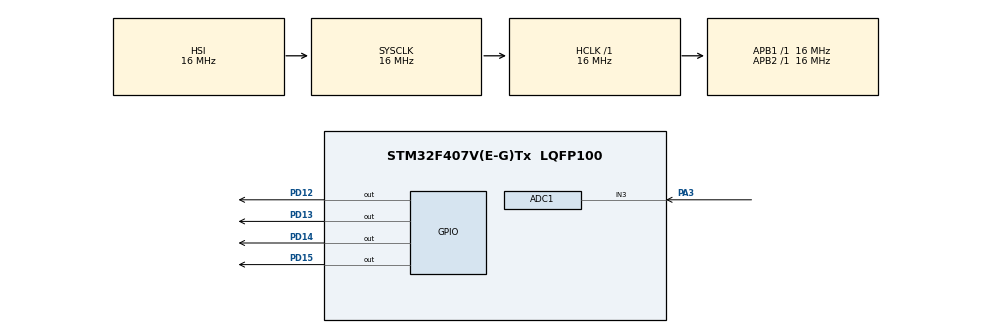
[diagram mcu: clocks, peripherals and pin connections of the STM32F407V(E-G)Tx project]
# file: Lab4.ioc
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ADC1.Channel-0\#ChannelRegularConversion=ADC_CHANNEL_3
ADC1.NbrOfConversionFlag=1
ADC1.Rank-0\#ChannelRegularConversion=1
ADC1.SamplingTime-0\#ChannelRegularConversion=ADC_SAMPLETIME_480CYCLES
ADC1.master=1
Mcu.Family=STM32F4
Mcu.Name=STM32F407V(E-G)Tx
Mcu.Package=LQFP100
NVIC.ADC_IRQn=true\:0\:0\:false\:false\:true\:true\:true\:true
NVIC.PriorityGroup=NVIC_PRIORITYGROUP_4
PA3.Signal=ADCx_IN3
PD12.Signal=GPIO_Output
PD13.Signal=GPIO_Output
PD14.Signal=GPIO_Output
PD15.Signal=GPIO_Output
ProjectManager.HeapSize=0x200
ProjectManager.StackSize=0x400
ProjectManager.TargetToolchain=STM32CubeIDE
RCC.AHBFreq_Value=16000000
RCC.APB1Freq_Value=16000000
RCC.APB2Freq_Value=16000000
RCC.CortexFreq_Value=16000000
RCC.HSE_VALUE=25000000
RCC.HSI_VALUE=16000000
RCC.LSE_VALUE=32768
RCC.SYSCLKFreq_VALUE=16000000
RCC.VCOOutputFreq_Value=192000000
SH.ADCx_IN3.0=ADC1_IN3,IN3
board=custom

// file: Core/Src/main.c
/* USER CODE BEGIN Header */
/**
  ******************************************************************************
  * @file           : main.c
  * @brief          : Main program body
  ******************************************************************************
  * @attention
  *
  * Copyright (c) 2023 STMicroelectronics.
  * All rights reserved.
  *
  * This software is licensed under terms that can be found in the LICENSE file
  * in the root directory of this software component.
  * If no LICENSE file comes with this software, it is provided AS-IS.
  *
  ******************************************************************************
  */
/* USER CODE END Header */
#include "main.h"

ADC_HandleTypeDef hadc1;

void SystemClock_Config(void);
static void MX_GPIO_Init(void);
static void MX_ADC1_Init(void);
/* USER CODE BEGIN PFP */
void HAL_ADC_ConvCpltCallback(ADC_HandleTypeDef* hadc)
{
//	uint32_t adcValue;
//
//	if (hadc->Instance == ADC1)
//	{
//		adcValue = HAL_ADC_GetValue(&hadc1);
//
//		TIM4->CCR2=adcValue;
//
//		if (adcValue < 2048)
//		{
//			HAL_GPIO_WritePin(GPIOD, GPIO_PIN_14, GPIO_PIN_SET);
//			HAL_GPIO_WritePin(GPIOD, GPIO_PIN_12, GPIO_PIN_RESET);
//		}
//		else
//		{
//			HAL_GPIO_WritePin(GPIOD, GPIO_PIN_14, GPIO_PIN_RESET);
//			HAL_GPIO_WritePin(GPIOD, GPIO_PIN_12, GPIO_PIN_SET);
//
//		}
//
//		HAL_ADC_Start_IT(&hadc1);
//	}
	uint32_t adcValue;

	if (hadc->Instance == ADC1)
	{
		adcValue = HAL_ADC_GetValue(&hadc1);

		if (adcValue <= 819)
		{
			HAL_GPIO_WritePin(GPIOD, GPIO_PIN_12, GPIO_PIN_RESET);
//			HAL_GPIO_WritePin(GPIOD, GPIO_PIN_13, GPIO_PIN_RESET);
//			HAL_GPIO_WritePin(GPIOD, GPIO_PIN_14, GPIO_PIN_RESET);
//			HAL_GPIO_WritePin(GPIOD, GPIO_PIN_15, GPIO_PIN_RESET);
		}
		else if (adcValue > 819 && adcValue <= 819*2)
		{
			HAL_GPIO_WritePin(GPIOD, GPIO_PIN_12, GPIO_PIN_SET);
			HAL_GPIO_WritePin(GPIOD, GPIO_PIN_13, GPIO_PIN_RESET);
//			HAL_GPIO_WritePin(GPIOD, GPIO_PIN_14, GPIO_PIN_RESET);
//			HAL_GPIO_WritePin(GPIOD, GPIO_PIN_15, GPIO_PIN_RESET);
		}
		else if (adcValue > 819 * 2 && adcValue <= 819 * 3)
		{
			HAL_GPIO_WritePin(GPIOD, GPIO_PIN_13, GPIO_PIN_SET);
//			HAL_GPIO_WritePin(GPIOD, GPIO_PIN_12, GPIO_PIN_SET);
			HAL_GPIO_WritePin(GPIOD, GPIO_PIN_14, GPIO_PIN_RESET);
//			HAL_GPIO_WritePin(GPIOD, GPIO_PIN_15, GPIO_PIN_RESET);
		}
		else if (adcValue > 819 * 3 && adcValue <= 819 * 4)
		{
//			HAL_GPIO_WritePin(GPIOD, GPIO_PIN_12, GPIO_PIN_SET);
//			HAL_GPIO_WritePin(GPIOD, GPIO_PIN_13, GPIO_PIN_SET);
			HAL_GPIO_WritePin(GPIOD, GPIO_PIN_14, GPIO_PIN_SET);
			HAL_GPIO_WritePin(GPIOD, GPIO_PIN_15, GPIO_PIN_RESET);
		}
		else
		{
//			HAL_GPIO_WritePin(GPIOD, GPIO_PIN_12, GPIO_PIN_SET);
//			HAL_GPIO_WritePin(GPIOD, GPIO_PIN_13, GPIO_PIN_SET);
			HAL_GPIO_WritePin(GPIOD, GPIO_PIN_14, GPIO_PIN_RESET);
			HAL_GPIO_WritePin(GPIOD, GPIO_PIN_15, GPIO_PIN_SET);
		}
		HAL_ADC_Start_IT(&hadc1);
	}

}
/* USER CODE END PFP */

int main(void)
{

  /* MCU Configuration--------------------------------------------------------*/

  /* Reset of all peripherals, Initializes the Flash interface and the Systick. */
  HAL_Init();

  /* Configure the system clock */
  SystemClock_Config();

  /* Initialize all configured peripherals */
  MX_GPIO_Init();
  MX_ADC1_Init();
  /* USER CODE BEGIN 2 */

//  uint32_t adcValue = 0;
//  volatile HAL_StatusTypeDef adcPoolResult;

  HAL_ADC_Start_IT(&hadc1);
//  HAL_TIM_PWM_Start(&htim4, TIM_CHANNEL_2);

  /* USER CODE END 2 */

  /* Infinite loop */
  /* USER CODE BEGIN WHILE */
  while (1)
  {
//	HAL_ADC_Start(&hadc1);
//	adcPoolResult = HAL_ADC_PollForConversion(&hadc1, 10);
//
//	if (adcPoolResult == HAL_OK)
//		adcValue = HAL_ADC_GetValue(&hadc1);
//	else
//		continue;
//
//	if (adcValue < 2048)
//	{
//		HAL_GPIO_WritePin(GPIOD, GPIO_PIN_14, GPIO_PIN_SET);
//		HAL_GPIO_WritePin(GPIOD, GPIO_PIN_12, GPIO_PIN_RESET);
//	}
//	else
//	{
//		HAL_GPIO_WritePin(GPIOD, GPIO_PIN_14, GPIO_PIN_RESET);
//		HAL_GPIO_WritePin(GPIOD, GPIO_PIN_12, GPIO_PIN_SET);
//
//	}

    /* USER CODE END WHILE */

  }
}

void SystemClock_Config(void)
{
  RCC_OscInitTypeDef RCC_OscInitStruct = {0};
  RCC_ClkInitTypeDef RCC_ClkInitStruct = {0};

  /** Configure the main internal regulator output voltage
  */
  __HAL_RCC_PWR_CLK_ENABLE();
  __HAL_PWR_VOLTAGESCALING_CONFIG(PWR_REGULATOR_VOLTAGE_SCALE1);

  /** Initializes the RCC Oscillators according to the specified parameters
  * in the RCC_OscInitTypeDef structure.
  */
  RCC_OscInitStruct.OscillatorType = RCC_OSCILLATORTYPE_HSI;
  RCC_OscInitStruct.HSIState = RCC_HSI_ON;
  RCC_OscInitStruct.HSICalibrationValue = RCC_HSICALIBRATION_DEFAULT;
  RCC_OscInitStruct.PLL.PLLState = RCC_PLL_NONE;
  if (HAL_RCC_OscConfig(&RCC_OscInitStruct) != HAL_OK)
  {
    Error_Handler();
  }

  /** Initializes the CPU, AHB and APB buses clocks
  */
  RCC_ClkInitStruct.ClockType = RCC_CLOCKTYPE_HCLK|RCC_CLOCKTYPE_SYSCLK
                              |RCC_CLOCKTYPE_PCLK1|RCC_CLOCKTYPE_PCLK2;
  RCC_ClkInitStruct.SYSCLKSource = RCC_SYSCLKSOURCE_HSI;
  RCC_ClkInitStruct.AHBCLKDivider = RCC_SYSCLK_DIV1;
  RCC_ClkInitStruct.APB1CLKDivider = RCC_HCLK_DIV1;
  RCC_ClkInitStruct.APB2CLKDivider = RCC_HCLK_DIV1;

  if (HAL_RCC_ClockConfig(&RCC_ClkInitStruct, FLASH_LATENCY_0) != HAL_OK)
  {
    Error_Handler();
  }
}

static void MX_ADC1_Init(void)
{

  ADC_ChannelConfTypeDef sConfig = {0};

  /** Configure the global features of the ADC (Clock, Resolution, Data Alignment and number of conversion)
  */
  hadc1.Instance = ADC1;
  hadc1.Init.ClockPrescaler = ADC_CLOCK_SYNC_PCLK_DIV2;
  hadc1.Init.Resolution = ADC_RESOLUTION_12B;
  hadc1.Init.ScanConvMode = DISABLE;
  hadc1.Init.ContinuousConvMode = DISABLE;
  hadc1.Init.DiscontinuousConvMode = DISABLE;
  hadc1.Init.ExternalTrigConvEdge = ADC_EXTERNALTRIGCONVEDGE_NONE;
  hadc1.Init.ExternalTrigConv = ADC_SOFTWARE_START;
  hadc1.Init.DataAlign = ADC_DATAALIGN_RIGHT;
  hadc1.Init.NbrOfConversion = 1;
  hadc1.Init.DMAContinuousRequests = DISABLE;
  hadc1.Init.EOCSelection = ADC_EOC_SINGLE_CONV;
  if (HAL_ADC_Init(&hadc1) != HAL_OK)
  {
    Error_Handler();
  }

  /** Configure for the selected ADC regular channel its corresponding rank in the sequencer and its sample time.
  */
  sConfig.Channel = ADC_CHANNEL_3;
  sConfig.Rank = 1;
  sConfig.SamplingTime = ADC_SAMPLETIME_480CYCLES;
  if (HAL_ADC_ConfigChannel(&hadc1, &sConfig) != HAL_OK)
  {
    Error_Handler();
  }

}

static void MX_GPIO_Init(void)
{
  GPIO_InitTypeDef GPIO_InitStruct = {0};

  /* GPIO Ports Clock Enable */
  __HAL_RCC_GPIOA_CLK_ENABLE();
  __HAL_RCC_GPIOD_CLK_ENABLE();

  /*Configure GPIO pin Output Level */
  HAL_GPIO_WritePin(GPIOD, GPIO_PIN_12|GPIO_PIN_13|GPIO_PIN_14|GPIO_PIN_15, GPIO_PIN_RESET);

  /*Configure GPIO pins : PD12 PD13 PD14 PD15 */
  GPIO_InitStruct.Pin = GPIO_PIN_12|GPIO_PIN_13|GPIO_PIN_14|GPIO_PIN_15;
  GPIO_InitStruct.Mode = GPIO_MODE_OUTPUT_PP;
  GPIO_InitStruct.Pull = GPIO_NOPULL;
  GPIO_InitStruct.Speed = GPIO_SPEED_FREQ_LOW;
  HAL_GPIO_Init(GPIOD, &GPIO_InitStruct);

}

void Error_Handler(void)
{
  __disable_irq();
  while (1)
  {
  }
}
